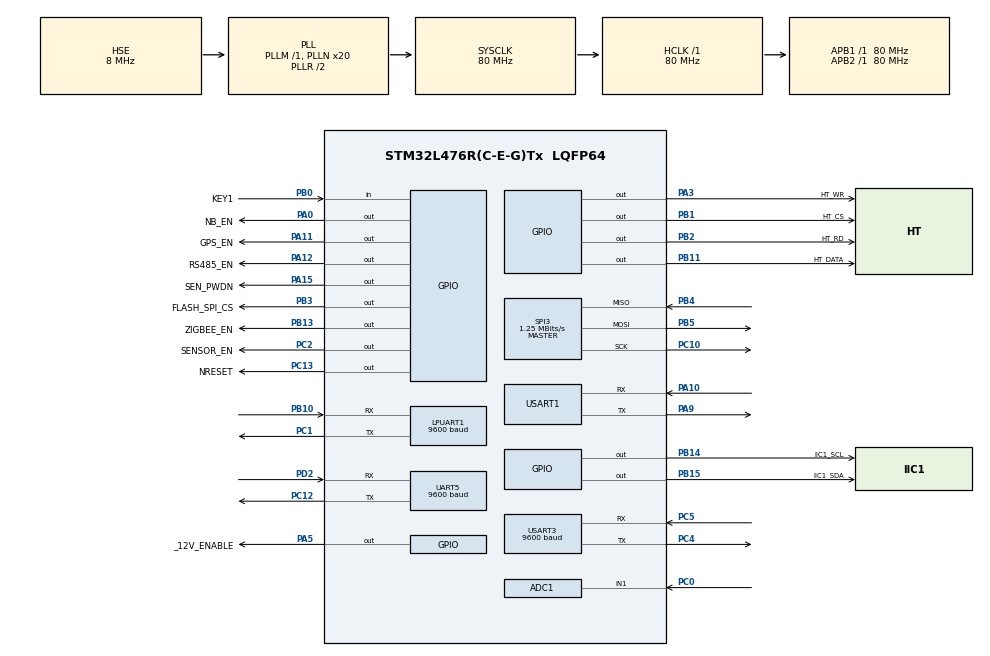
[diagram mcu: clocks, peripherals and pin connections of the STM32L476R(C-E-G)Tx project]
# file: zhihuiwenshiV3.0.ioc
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ADC1.Channel-13\#ChannelRegularConversion=ADC_CHANNEL_1
ADC1.NbrOfConversionFlag=1
ADC1.OffsetNumber-13\#ChannelRegularConversion=ADC_OFFSET_NONE
ADC1.Rank-13\#ChannelRegularConversion=1
ADC1.SamplingTime-13\#ChannelRegularConversion=ADC_SAMPLETIME_24CYCLES_5
ADC1.master=1
Dma.LPUART_RX.0.Direction=DMA_PERIPH_TO_MEMORY
Dma.LPUART_RX.0.Instance=DMA2_Channel7
Dma.LPUART_RX.0.MemDataAlignment=DMA_MDATAALIGN_HALFWORD
Dma.LPUART_RX.0.MemInc=DMA_MINC_ENABLE
Dma.LPUART_RX.0.Mode=DMA_CIRCULAR
Dma.LPUART_RX.0.PeriphDataAlignment=DMA_PDATAALIGN_HALFWORD
Dma.LPUART_RX.0.PeriphInc=DMA_PINC_DISABLE
Dma.LPUART_RX.0.Priority=DMA_PRIORITY_LOW
Dma.LPUART_TX.1.Direction=DMA_MEMORY_TO_PERIPH
Dma.LPUART_TX.1.Instance=DMA2_Channel6
Dma.LPUART_TX.1.MemDataAlignment=DMA_MDATAALIGN_BYTE
Dma.LPUART_TX.1.MemInc=DMA_MINC_ENABLE
Dma.LPUART_TX.1.Mode=DMA_NORMAL
Dma.LPUART_TX.1.PeriphDataAlignment=DMA_PDATAALIGN_BYTE
Dma.LPUART_TX.1.PeriphInc=DMA_PINC_DISABLE
Dma.LPUART_TX.1.Priority=DMA_PRIORITY_LOW
Dma.Request0=LPUART_RX
Dma.Request1=LPUART_TX
Dma.Request2=USART3_RX
Dma.Request3=USART3_TX
Dma.USART3_RX.2.Direction=DMA_PERIPH_TO_MEMORY
Dma.USART3_RX.2.Instance=DMA1_Channel3
Dma.USART3_RX.2.MemDataAlignment=DMA_MDATAALIGN_HALFWORD
Dma.USART3_RX.2.MemInc=DMA_MINC_ENABLE
Dma.USART3_RX.2.Mode=DMA_CIRCULAR
Dma.USART3_RX.2.PeriphDataAlignment=DMA_PDATAALIGN_HALFWORD
Dma.USART3_RX.2.PeriphInc=DMA_PINC_DISABLE
Dma.USART3_RX.2.Priority=DMA_PRIORITY_LOW
Dma.USART3_TX.3.Direction=DMA_MEMORY_TO_PERIPH
Dma.USART3_TX.3.Instance=DMA1_Channel2
Dma.USART3_TX.3.MemDataAlignment=DMA_MDATAALIGN_BYTE
Dma.USART3_TX.3.MemInc=DMA_MINC_ENABLE
Dma.USART3_TX.3.Mode=DMA_NORMAL
Dma.USART3_TX.3.PeriphDataAlignment=DMA_PDATAALIGN_BYTE
Dma.USART3_TX.3.PeriphInc=DMA_PINC_DISABLE
Dma.USART3_TX.3.Priority=DMA_PRIORITY_LOW
IWDG.Prescaler=IWDG_PRESCALER_32
IWDG.Reload=1000
LPUART1.BaudRate=9600
LPUART1.OneBitSampling=UART_ONE_BIT_SAMPLE_DISABLE
LPUART1.WordLength=UART_WORDLENGTH_8B
Mcu.Family=STM32L4
Mcu.Name=STM32L476R(C-E-G)Tx
Mcu.Package=LQFP64
NVIC.DMA1_Channel2_IRQn=true\:0\:0\:false\:false\:true\:false\:true
NVIC.DMA1_Channel3_IRQn=true\:2\:0\:true\:false\:true\:false\:true
NVIC.DMA2_Channel6_IRQn=true\:5\:0\:true\:false\:true\:false\:true
NVIC.DMA2_Channel7_IRQn=true\:6\:0\:true\:false\:true\:false\:true
NVIC.LPUART1_IRQn=true\:8\:0\:true\:false\:true\:true\:true
NVIC.PriorityGroup=NVIC_PRIORITYGROUP_4
NVIC.UART5_IRQn=true\:7\:0\:true\:false\:true\:true\:true
NVIC.USART1_IRQn=true\:4\:0\:true\:false\:true\:true\:true
NVIC.USART3_IRQn=true\:9\:0\:true\:false\:true\:true\:true
PA0.GPIO_Label=NB_EN
PA0.GPIO_ModeDefaultOutputPP=GPIO_MODE_OUTPUT_PP
PA0.GPIO_PuPd=GPIO_NOPULL
PA0.GPIO_Speed=GPIO_SPEED_FREQ_LOW
PA0.PinState=GPIO_PIN_RESET
PA0.Signal=GPIO_Output
PA10.Mode=Asynchronous
PA10.Signal=USART1_RX
PA11.GPIO_Label=GPS_EN
PA11.GPIO_ModeDefaultOutputPP=GPIO_MODE_OUTPUT_PP
PA11.GPIO_PuPd=GPIO_NOPULL
PA11.GPIO_Speed=GPIO_SPEED_FREQ_LOW
PA11.PinState=GPIO_PIN_SET
PA11.Signal=GPIO_Output
PA12.GPIO_Label=RS485_EN
PA12.GPIO_ModeDefaultOutputPP=GPIO_MODE_OUTPUT_PP
PA12.GPIO_PuPd=GPIO_NOPULL
PA12.GPIO_Speed=GPIO_SPEED_FREQ_LOW
PA12.PinState=GPIO_PIN_RESET
PA12.Signal=GPIO_Output
PA13\ (JTMS-SWDIO).Mode=Serial_Wire
PA13\ (JTMS-SWDIO).Signal=SYS_JTMS-SWDIO
PA14\ (JTCK-SWCLK).Mode=Serial_Wire
PA14\ (JTCK-SWCLK).Signal=SYS_JTCK-SWCLK
PA15\ (JTDI).GPIO_Label=SEN_PWDN
PA15\ (JTDI).GPIO_ModeDefaultOutputPP=GPIO_MODE_OUTPUT_PP
PA15\ (JTDI).GPIO_PuPd=GPIO_NOPULL
PA15\ (JTDI).GPIO_Speed=GPIO_SPEED_FREQ_LOW
PA15\ (JTDI).PinState=GPIO_PIN_RESET
PA15\ (JTDI).Signal=GPIO_Output
PA3.GPIO_Label=HT_WR
PA3.GPIO_ModeDefaultOutputPP=GPIO_MODE_OUTPUT_PP
PA3.GPIO_PuPd=GPIO_NOPULL
PA3.GPIO_Speed=GPIO_SPEED_FREQ_LOW
PA3.PinState=GPIO_PIN_RESET
PA3.Signal=GPIO_Output
PA5.GPIO_Label=_12V_ENABLE
PA5.GPIO_ModeDefaultOutputPP=GPIO_MODE_OUTPUT_PP
PA5.GPIO_PuPd=GPIO_NOPULL
PA5.GPIO_Speed=GPIO_SPEED_FREQ_LOW
PA5.PinState=GPIO_PIN_RESET
PA5.Signal=GPIO_Output
PA9.Mode=Asynchronous
PA9.Signal=USART1_TX
PB0.GPIO_Label=KEY1
PB0.GPIO_Mode=GPIO_MODE_INPUT
PB0.GPIO_PuPd=GPIO_NOPULL
PB0.Signal=GPIO_Input
PB1.GPIO_Label=HT_CS
PB1.GPIO_ModeDefaultOutputPP=GPIO_MODE_OUTPUT_PP
PB1.GPIO_PuPd=GPIO_NOPULL
PB1.GPIO_Speed=GPIO_SPEED_FREQ_LOW
PB1.PinState=GPIO_PIN_RESET
PB1.Signal=GPIO_Output
PB10.Mode=Asynchronous
PB10.Signal=LPUART1_RX
PB11.GPIO_Label=HT_DATA
PB11.GPIO_ModeDefaultOutputPP=GPIO_MODE_OUTPUT_PP
PB11.GPIO_PuPd=GPIO_NOPULL
PB11.GPIO_Speed=GPIO_SPEED_FREQ_LOW
PB11.PinState=GPIO_PIN_RESET
PB11.Signal=GPIO_Output
PB13.GPIO_Label=ZIGBEE_EN
PB13.GPIO_ModeDefaultOutputPP=GPIO_MODE_OUTPUT_PP
PB13.GPIO_PuPd=GPIO_PULLUP
PB13.GPIO_Speed=GPIO_SPEED_FREQ_LOW
PB13.PinState=GPIO_PIN_SET
PB13.Signal=GPIO_Output
PB14.GPIO_Label=IIC1_SCL
PB14.GPIO_ModeDefaultOutputPP=GPIO_MODE_OUTPUT_PP
PB14.GPIO_PuPd=GPIO_NOPULL
PB14.GPIO_Speed=GPIO_SPEED_FREQ_LOW
PB14.PinState=GPIO_PIN_RESET
PB14.Signal=GPIO_Output
PB15.GPIO_Label=IIC1_SDA
PB15.GPIO_ModeDefaultOutputPP=GPIO_MODE_OUTPUT_PP
PB15.GPIO_PuPd=GPIO_NOPULL
PB15.GPIO_Speed=GPIO_SPEED_FREQ_LOW
PB15.PinState=GPIO_PIN_RESET
PB15.Signal=GPIO_Output
PB2.GPIO_Label=HT_RD
PB2.GPIO_ModeDefaultOutputPP=GPIO_MODE_OUTPUT_PP
PB2.GPIO_PuPd=GPIO_NOPULL
PB2.GPIO_Speed=GPIO_SPEED_FREQ_LOW
PB2.PinState=GPIO_PIN_RESET
PB2.Signal=GPIO_Output
PB3\ (JTDO-TRACESWO).GPIO_Label=FLASH_SPI_CS
PB3\ (JTDO-TRACESWO).GPIO_ModeDefaultOutputPP=GPIO_MODE_OUTPUT_PP
PB3\ (JTDO-TRACESWO).GPIO_PuPd=GPIO_NOPULL
PB3\ (JTDO-TRACESWO).GPIO_Speed=GPIO_SPEED_FREQ_LOW
PB3\ (JTDO-TRACESWO).PinState=GPIO_PIN_RESET
PB3\ (JTDO-TRACESWO).Signal=GPIO_Output
PB4\ (NJTRST).Mode=Full_Duplex_Master
PB4\ (NJTRST).Signal=SPI3_MISO
PB5.Mode=Full_Duplex_Master
PB5.Signal=SPI3_MOSI
PC0.GPIO_Mode=GPIO_MODE_ANALOG_ADC_CONTROL
PC0.GPIO_PuPd=GPIO_NOPULL
PC0.Signal=ADCx_IN1
PC1.Mode=Asynchronous
PC1.Signal=LPUART1_TX
PC10.Mode=Full_Duplex_Master
PC10.Signal=SPI3_SCK
PC12.Mode=Asynchronous
PC12.Signal=UART5_TX
PC13.GPIO_Label=NRESET
PC13.GPIO_ModeDefaultOutputPP=GPIO_MODE_OUTPUT_PP
PC13.GPIO_PuPd=GPIO_NOPULL
PC13.GPIO_Speed=GPIO_SPEED_FREQ_LOW
PC13.PinState=GPIO_PIN_RESET
PC13.Signal=GPIO_Output
PC14-OSC32_IN\ (PC14).Mode=LSE-External-Oscillator
PC14-OSC32_IN\ (PC14).Signal=RCC_OSC32_IN
PC15-OSC32_OUT\ (PC15).Mode=LSE-External-Oscillator
PC15-OSC32_OUT\ (PC15).Signal=RCC_OSC32_OUT
PC2.GPIO_Label=SENSOR_EN
PC2.GPIO_ModeDefaultOutputPP=GPIO_MODE_OUTPUT_PP
PC2.GPIO_PuPd=GPIO_NOPULL
PC2.GPIO_Speed=GPIO_SPEED_FREQ_LOW
PC2.PinState=GPIO_PIN_SET
PC2.Signal=GPIO_Output
PC4.GPIO_ModeDefaultPP=GPIO_MODE_AF_PP
PC4.GPIO_PuPd=GPIO_NOPULL
PC4.GPIO_Speed=GPIO_SPEED_FREQ_VERY_HIGH
PC4.Mode=Asynchronous
PC4.Signal=USART3_TX
PC5.GPIO_ModeDefaultPP=GPIO_MODE_AF_PP
PC5.GPIO_PuPd=GPIO_NOPULL
PC5.GPIO_Speed=GPIO_SPEED_FREQ_VERY_HIGH
PC5.Mode=Asynchronous
PC5.Signal=USART3_RX
PD2.Mode=Asynchronous
PD2.Signal=UART5_RX
PH0-OSC_IN\ (PH0).Mode=HSE-External-Oscillator
PH0-OSC_IN\ (PH0).Signal=RCC_OSC_IN
PH1-OSC_OUT\ (PH1).Mode=HSE-External-Oscillator
PH1-OSC_OUT\ (PH1).Signal=RCC_OSC_OUT
ProjectManager.HeapSize=0x2000
ProjectManager.StackSize=0x3000
ProjectManager.TargetToolchain=MDK-ARM V5
RCC.ADCCLockSelection=RCC_ADCCLKSOURCE_PLLSAI2
RCC.ADCFreq_Value=32000000
RCC.AHBFreq_Value=80000000
RCC.APB1Freq_Value=80000000
RCC.APB1TimFreq_Value=80000000
RCC.APB2Freq_Value=80000000
RCC.APB2TimFreq_Value=80000000
RCC.CortexFreq_Value=80000000
RCC.HCLKFreq_Value=80000000
RCC.HSE_VALUE=8000000
RCC.HSI_VALUE=16000000
RCC.LPUART1CLockSelection=RCC_LPUART1CLKSOURCE_LSE
RCC.MSI_VALUE=4000000
RCC.PLLN=20
RCC.PLLSAI1N=16
RCC.PLLSourceVirtual=RCC_PLLSOURCE_HSE
RCC.RCC_MCO1Source=RCC_MCO1SOURCE_HSI
RCC.RCC_MCODiv=RCC_MCODIV_2
RCC.RTCClockSelection=RCC_RTCCLKSOURCE_LSE
RCC.SYSCLKFreq_VALUE=80000000
RCC.SYSCLKSource=RCC_SYSCLKSOURCE_PLLCLK
RCC.USBFreq_Value=64000000
RCC.VCOOutputFreq_Value=160000000
SH.ADCx_IN1.0=ADC1_IN1,IN1-Single-Ended
SPI3.BaudRatePrescaler=SPI_BAUDRATEPRESCALER_64
SPI3.CalculateBaudRate=1.25 MBits/s
SPI3.DataSize=SPI_DATASIZE_8BIT
SPI3.Direction=SPI_DIRECTION_2LINES
SPI3.Mode=SPI_MODE_MASTER
SPI3.VirtualType=VM_MASTER
UART5.BaudRate=9600
USART1.VirtualMode-Asynchronous=VM_ASYNC
USART3.BaudRate=9600
USART3.VirtualMode-Asynchronous=VM_ASYNC
VP_IWDG_VS_IWDG.Mode=IWDG_Activate
VP_RTC_VS_RTC_Activate.Mode=RTC_Enabled
VP_RTC_VS_RTC_Calendar.Mode=RTC_Calendar
board=custom

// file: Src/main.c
/* USER CODE BEGIN Header */
/**
  ******************************************************************************
  * @file           : main.c
  * @brief          : Main program body
  ******************************************************************************
  * @attention
  *
  * <h2><center>&copy; Copyright (c) 2019 STMicroelectronics.
  * All rights reserved.</center></h2>
  *
  * This software component is licensed by ST under BSD 3-Clause license,
  * the "License"; You may not use this file except in compliance with the
  * License. You may obtain a copy of the License at:
  *                        opensource.org/licenses/BSD-3-Clause
  *
  ******************************************************************************
  */
/*
 * @Author: shiquan001
 * @Email: 448332311@qq.com
 * @Date: 2019-08-08 14:10:05
 * @Last Modified by:   shiquan001
 * @Last Modified time: 2019-08-08 14:10:05
 * @Description: Description
 */

/* USER CODE END Header */

#include "main.h"
#include "adc.h"
#include "dma.h"
#include "iwdg.h"
#include "usart.h"
#include "rtc.h"
#include "spi.h"
#include "gpio.h"

/* USER CODE BEGIN Includes */
#include "bsp.h"
#include "app.h"
#include "app_main.h"

/* USER CODE END Includes */

void SystemClock_Config(void);

/* USER CODE BEGIN 0 */

//要写入到STM32 FLASH的字符串数组
u8 TEXT_Buffer[] = {"STM32L4 FLASH TEST"};
#define TEXT_LENTH sizeof(TEXT_Buffer)              //数组长度
#define SIZE ( TEXT_LENTH/8+((TEXT_LENTH%8)?1:0) )  //计算以64位存储需要写入的长度
#define FLASH_SAVE_ADDR  0X08030000     //设置FLASH 保存地址(必须为8的倍数，且所在扇区,要大于本代码所占用到的扇区.
//否则,写操作的时候,可能会导致擦除整个扇区,从而引起部分程序丢失.引起死机.

/*printf()函数位相应的打印输出定向函数*/

/* USER CODE END 0 */

int main(void)
{
    /* USER CODE BEGIN 1 */
    #if ENABLE_WATCHDOG
    MX_IWDG_Init();
    #endif
    /* USER CODE END 1 */

    /* MCU Configuration--------------------------------------------------------*/

    /* Reset of all peripherals, Initializes the Flash interface and the Systick. */
    HAL_Init();

    /* USER CODE BEGIN Init */

    /* 初始化key    ,systick 需要调用按键扫描程序函数*/
    bsp_InitKey_set();

    /* USER CODE END Init */

    /* Configure the system clock */
    SystemClock_Config();

    /* USER CODE BEGIN SysInit */
     //DISABLE_INT();
    /* USER CODE END SysInit */

    /* Initialize all configured peripherals */
    MX_GPIO_Init();
    MX_DMA_Init();
    MX_LPUART1_UART_Init();//GPS
    MX_USART3_UART_Init();//NB
    MX_RTC_Init();
    MX_ADC1_Init();
    MX_UART5_Init();//RS485
    MX_SPI3_Init();
    MX_USART1_UART_Init();//ZIGBEE
    // MX_IWDG_Init();

    /* USER CODE BEGIN 2 */

    /*开始 gps 采集初始化*/
    bsp_GPS_Init(App_gps_Msg_cb); //初始化串口

    ENABLE_INT();//

    #if ENABLE_WATCHDOG
    /* --- 喂狗 */
    HAL_IWDG_Refresh(&hiwdg) ;
    #endif

    bsp_DelayMS(20);// 便于串口打印数据

    bsp_Init();
    App_fault_analysis_Init_Var();
    p_info("App_Ver:%s!",VERSION_WENSHI_cur);
    print_reboot_flag();//需要先初始化spi flash的供电
    clear_reboot_flag();

    app_tasks();//测试使用

    #if 1
    App_caiji_report_Init_Var();
    g_caiji.start_gps = TRUE;
    g_caiji.work_state_gps = CAIJI_GPS_INIT;

    bsp_SetTimer(TMR_ID_caiji_T_H_cycle);//开始采集温湿度的信息
    bsp_SetTimer(TMR_ID_Charge_Voltage_Indicator);//开始采集充电信息

    //bsp_SHT30_Init();
    //p_info("bsp_SHT30_Init 。。。");
    //如果大于1则进行sht30的测量
    //if(SHT20_Get_TH(&g_wenshi.m_Symbol, &g_wenshi.m_T, &g_wenshi.m_H))
    //{
    //  bsp_SHT30_Get_TH(&g_wenshi.m_Symbol, &g_wenshi.m_T, &g_wenshi.m_H);//空气温度 湿度
    //}
    #endif
    /*  显示光照强度*/
    App_display_illumination(g_wenshi.m_Lux,TRUE);
    /*  显示温湿度*/
    App_display_temp(g_wenshi.m_T/10,TRUE);
    App_display_humidity(g_wenshi.m_H/10,TRUE);

    app_caiji_sensorDataSync();//同步数据之后更新LED屏幕内容
    App_485_tx_led_display_cmd(ADDRESS_LED_DISPLAY,FUNCTION_CODE_10);// 刷新数据

    App_wenshi_Init_Var();
    App_ZIGBEE_HA_Init_Var();// zigbee 初始化

    Bsp_nb_power_off();
    bsp_DelayMS(4000);
    Bsp_nb_power_on();
    bsp_DelayMS(4000);

    app_4G_initVar();//
    app_4G_initStart();//

    NBModule_open(&nb_config);

    App_nb_Init_Var();// app 初始化

    App_Battery_Init_Var();
    App_display_Init_Var();
    App_caiji_report_Init_Var();

    //App_Update_Init_Var();// update
    app_update4G_initVar();// update

    /*  显示电池电量*/
    g_wenshi.m_voltage_level = 4;g_tBattery.charge_flag = 0;
    App_display_battery_and_charge(g_wenshi.m_voltage_level,g_tBattery.charge_flag);

    App_caiji_report_start();//
    App_nb_Init_start();//nb 开始

    p_info("while 开始");

    App_Config_Init_Var();//读取保存在flash中的开关机标记
    g_wenshi.power_onoff = POWER_ON;//强制开机

    /*关机了*/
    if(g_wenshi.power_onoff == POWER_OFF)
    {
        App_wenshi_poweroff();
        p_info("初始化，关机");
    }
    else
    {
        p_info("初始化，开机");
    }
    //App_server_gettime(0x04D32A8A);
    bsp_ClearKey_set();//
    App_camera_Init_Var();
    #ifdef ENABLE_TIANJING_PLC
    App_caiji_PLC_Init_Var();
    #endif

    #ifdef ENABLE_SHESHISUO_PLC
    App_sheshisuo_PLC_Init_Var();
    #endif

    bsp_InitCmd();

    /* USER CODE END 2 */

    /* Infinite loop */
    while (1)
    {

        /* USER CODE BEGIN 3 */
        bsp_Idle();
        App_key_process();  /* 处理按键事件 */

        /*关机了，按键开机的话，直接重启。*/
        if(g_wenshi.power_onoff == POWER_OFF)
        {
            /* NB模块的函数处理*/
            MX_TimerPoll();// NB的专用定时器
            HAL_UART_Poll();// 串口数据通过回调函数进行解析。NB和 GPS
            NBModule_Main(&nb_config);
        }
        else if(g_wenshi.power_onoff == POWER_ON)
        {
            App_wenshi_Loop();//温湿度显示。
        }

         /* Refresh IWDG: reload counter */
        #if ENABLE_WATCHDOG
        if (HAL_IWDG_Refresh(&hiwdg) != HAL_OK)
        {
            /* Refresh Error */
            p_info("你不按时喂狗....\r\n");
            Error_Handler();
        }
        #endif
    }
    /* USER CODE END 3 */
}

void SystemClock_Config(void)
{
  RCC_OscInitTypeDef RCC_OscInitStruct = {0};
  RCC_ClkInitTypeDef RCC_ClkInitStruct = {0};
  RCC_PeriphCLKInitTypeDef PeriphClkInit = {0};

  /** Configure LSE Drive Capability
  */
  HAL_PWR_EnableBkUpAccess();
  __HAL_RCC_LSEDRIVE_CONFIG(RCC_LSEDRIVE_LOW);
  /** Initializes the CPU, AHB and APB busses clocks
  */
  RCC_OscInitStruct.OscillatorType = RCC_OSCILLATORTYPE_LSI|RCC_OSCILLATORTYPE_HSE
                              |RCC_OSCILLATORTYPE_LSE;
  RCC_OscInitStruct.HSEState = RCC_HSE_ON;
  RCC_OscInitStruct.LSEState = RCC_LSE_ON;
  RCC_OscInitStruct.LSIState = RCC_LSI_ON;
  RCC_OscInitStruct.PLL.PLLState = RCC_PLL_ON;
  RCC_OscInitStruct.PLL.PLLSource = RCC_PLLSOURCE_HSE;
  RCC_OscInitStruct.PLL.PLLM = 1;
  RCC_OscInitStruct.PLL.PLLN = 20;
  RCC_OscInitStruct.PLL.PLLP = RCC_PLLP_DIV7;
  RCC_OscInitStruct.PLL.PLLQ = RCC_PLLQ_DIV2;
  RCC_OscInitStruct.PLL.PLLR = RCC_PLLR_DIV2;
  if (HAL_RCC_OscConfig(&RCC_OscInitStruct) != HAL_OK)
  {
    Error_Handler();
  }
  /** Initializes the CPU, AHB and APB busses clocks
  */
  RCC_ClkInitStruct.ClockType = RCC_CLOCKTYPE_HCLK|RCC_CLOCKTYPE_SYSCLK
                              |RCC_CLOCKTYPE_PCLK1|RCC_CLOCKTYPE_PCLK2;
  RCC_ClkInitStruct.SYSCLKSource = RCC_SYSCLKSOURCE_PLLCLK;
  RCC_ClkInitStruct.AHBCLKDivider = RCC_SYSCLK_DIV1;
  RCC_ClkInitStruct.APB1CLKDivider = RCC_HCLK_DIV1;
  RCC_ClkInitStruct.APB2CLKDivider = RCC_HCLK_DIV1;

  if (HAL_RCC_ClockConfig(&RCC_ClkInitStruct, FLASH_LATENCY_4) != HAL_OK)
  {
    Error_Handler();
  }
  PeriphClkInit.PeriphClockSelection = RCC_PERIPHCLK_RTC|RCC_PERIPHCLK_USART1
                              |RCC_PERIPHCLK_USART3|RCC_PERIPHCLK_UART5
                              |RCC_PERIPHCLK_LPUART1|RCC_PERIPHCLK_ADC;
  PeriphClkInit.Usart1ClockSelection = RCC_USART1CLKSOURCE_PCLK2;
  PeriphClkInit.Usart3ClockSelection = RCC_USART3CLKSOURCE_PCLK1;
  PeriphClkInit.Uart5ClockSelection = RCC_UART5CLKSOURCE_PCLK1;
  PeriphClkInit.Lpuart1ClockSelection = RCC_LPUART1CLKSOURCE_LSE;
  PeriphClkInit.AdcClockSelection = RCC_ADCCLKSOURCE_PLLSAI2;
  PeriphClkInit.RTCClockSelection = RCC_RTCCLKSOURCE_LSE;
  PeriphClkInit.PLLSAI2.PLLSAI2Source = RCC_PLLSOURCE_HSE;
  PeriphClkInit.PLLSAI2.PLLSAI2M = 1;
  PeriphClkInit.PLLSAI2.PLLSAI2N = 8;
  PeriphClkInit.PLLSAI2.PLLSAI2P = RCC_PLLP_DIV7;
  PeriphClkInit.PLLSAI2.PLLSAI2R = RCC_PLLR_DIV2;
  PeriphClkInit.PLLSAI2.PLLSAI2ClockOut = RCC_PLLSAI2_ADC2CLK;
  if (HAL_RCCEx_PeriphCLKConfig(&PeriphClkInit) != HAL_OK)
  {
    Error_Handler();
  }
  /** Configure the main internal regulator output voltage
  */
  if (HAL_PWREx_ControlVoltageScaling(PWR_REGULATOR_VOLTAGE_SCALE1) != HAL_OK)
  {
    Error_Handler();
  }
}

void Error_Handler(void)
{
  /* USER CODE BEGIN Error_Handler_Debug */
  /* User can add his own implementation to report the HAL error return state */
 // printf("HAL error" );

  /* USER CODE END Error_Handler_Debug */
}

/************************ (C) COPYRIGHT STMicroelectronics *****END OF FILE****/
